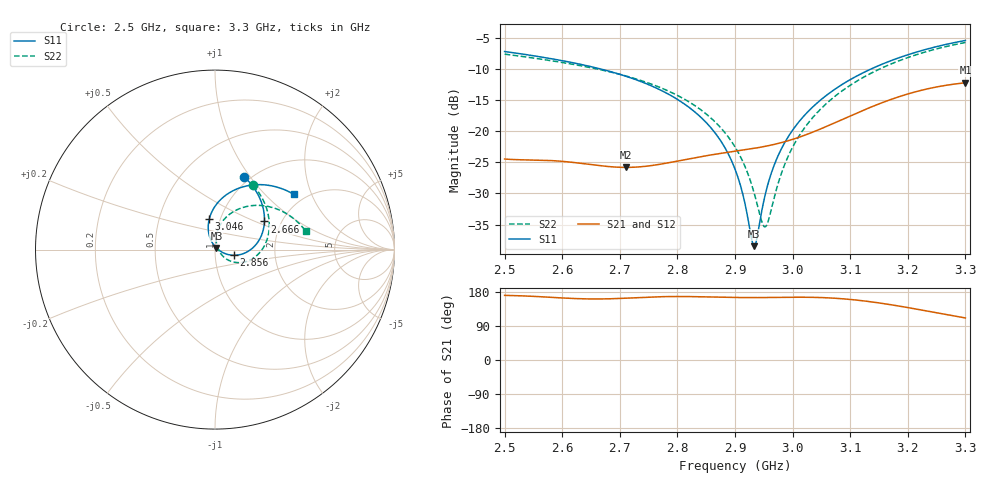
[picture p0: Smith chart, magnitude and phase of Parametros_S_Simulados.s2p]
! TOUCHSTONE file generated by CST MICROWAVE STUDIO
! Date and time: Mon Oct 20 04:36:43 2025
! Project name: Diseño Final_German Pedre.cst
! Parameters = {Coef_Largo_Aba=2.5; Coef_Largo_Der=2.5; Cuarto=14; Cuarto2=8; Dist_Coef=0.15; Dist_sop=1.5; Er=4.6; Hc=0.035; Hr=1; Hs=1.524; Lamb=103.448; Lamb_sus=48.233; Lc=55; Le2=10; Lfeed=13.2; Lint=10.4; Lpad=1.5; Lr=2.15; Ls=55; LstubD=3; Lsup=8.3; Rpad=1; Rsop=1.5; Rvia=0.3; Wc=55; Wdelgada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
! Header version: 2018
! Port assignment regex: !\s*Touchstone port\s*([0-9]+)\s*=\s*(CST MWS port|CST DS port)\s*([0-9]+|Zmin|Zmax)\s*\(\"(.*)\"\)(\s*mode\s*([0-9]+))?.*
! Touchstone port assignment:
! Touchstone port 1 = CST MWS port 1 ("")
! Touchstone port 2 = CST MWS port 2 ("")
# GHz S MA R 50
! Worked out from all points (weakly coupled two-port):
!   1001 points, 2.5 GHz to 3.3 GHz, reference 50 ohm
!   highest |S21| = -12.22 dB at 3.3 GHz (marker M1); lowest = -25.8 dB at 2.711 GHz (marker M2)
!   lowest |S11| = -38.5 dB at 2.934 GHz (marker M3), VSWR 1.02, Z = 50.8 + j0.896 ohm
!   |S11| at or under -10 dB: 2.667 GHz to 3.136 GHz (469.7 MHz wide, 16.2 % of centre)
!   |S22| runs from -35.4 to -5.7 dB; largest |S21 - S12| = 0.00024
!   S11 on the Smith chart (normalised r, x): 2.5 GHz: 0.93, +0.94; 2.666 GHz: 1.64, +0.57; 2.856 GHz: 1.23, -0.08; 3.046 GHz: 0.89, +0.31; 3.3 GHz: 1.73, +1.50
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2.5  0.4367 68.3  0.05981 170.6  0.05981 170.5  0.416 59.3
2.6336  0.3432 37.4  0.05514 161.6  0.05515 161.5  0.3347 25.3
2.6656  0.3171 29.6  0.05287 161.1  0.05287 161.0  0.3124 17.0
2.7112  0.2759 18.3  0.05123 163.2  0.05122 163.1  0.2773 4.8
2.7672  0.218 4.2  0.05404 166.8  0.05402 166.8  0.2273 -10.3
2.856  0.1095 -16.8  0.06427 166.3  0.06424 166.3  0.1303 -32.8
2.8808  0.07608 -20.9  0.06699 165.5  0.06695 165.4  0.09956 -37.7
2.9  0.04967 -21.3  0.06903 165.0  0.06899 164.9  0.07483 -40.1
2.912  0.03327 -17.5  0.07034 164.8  0.0703 164.7  0.05912 -40.0
2.9288  0.01364 17.8  0.07231 164.6  0.07226 164.6  0.03739 -34.5
2.9336  0.01194 47.6  0.07292 164.6  0.07287 164.6  0.0315 -30.3
2.9384  0.01412 76.5  0.07356 164.7  0.07351 164.6  0.02601 -23.5
2.9472  0.02385 101.7  0.07482 164.7  0.07476 164.7  0.01841 0.7
2.9544  0.03364 109.0  0.07594 164.8  0.07588 164.8  0.01741 32.6
2.9696  0.05577 113.2  0.07867 165.1  0.0786 165.0  0.03115 73.2
2.9904  0.08724 111.9  0.08338 165.5  0.0833 165.4  0.0601 83.8
3.0336  0.1545 103.5  0.09774 165.4  0.09764 165.4  0.1266 80.0
3.0464  0.1747 100.5  0.1033 164.9  0.1032 164.9  0.147 77.3
3.1  0.2595 87.0  0.1326 159.8  0.1325 159.8  0.2339 64.3
3.1672  0.3633 69.4  0.1775 146.7  0.1773 146.7  0.3411 46.3
3.2328  0.456 52.2  0.2182 129.4  0.218 129.4  0.436 28.7
3.3  0.5357 35.2  0.2449 110.9  0.2447 110.9  0.5162 11.4
